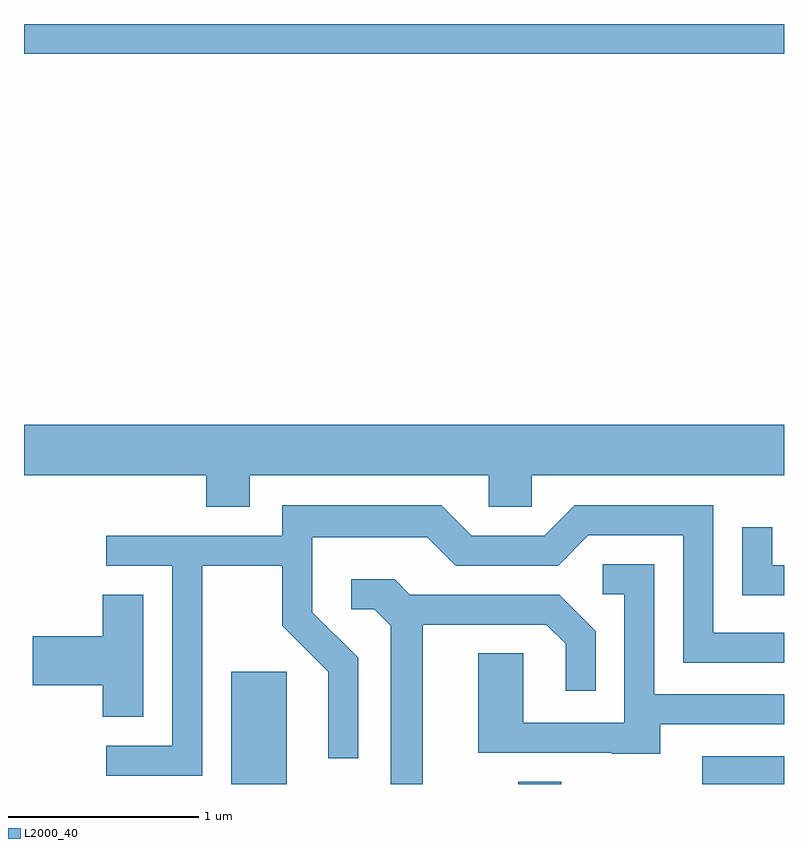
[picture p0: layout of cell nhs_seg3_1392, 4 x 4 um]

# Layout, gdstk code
import gdstk
lib = gdstk.Library(unit=1e-6, precision=1e-09)
def R(c, l, rs):  # rectangles x0, y0, x1, y1
    for r in rs: c.add(gdstk.rectangle(r[:2], r[2:], *l))
def P(c, l, *ps):  # polygons
    for p in ps: c.add(gdstk.Polygon(p, *l))
L2000_40 = (2000, 40)

nhs_seg3_1392 = lib.new_cell('nhs_seg3_1392')
R(nhs_seg3_1392, L2000_40, [(226.701,1179.892,226.994,1180.484), (228.211,1179.892,228.439,1179.904), (229.181,1179.892,229.611,1180.039), (225.611,1183.736,229.611,1183.892)])
P(nhs_seg3_1392, L2000_40, [(225.611,1181.516),(226.571,1181.516),(226.571,1181.351),(226.799,1181.351),(226.799,1181.516),(228.056,1181.516),(228.056,1181.351),(228.284,1181.351),(228.284,1181.516),(229.611,1181.516),(229.611,1181.784),(225.611,1181.784)],
  [(226.549,1181.041),(226.971,1181.041),(226.971,1180.724),(227.211,1180.484),(227.211,1180.028),(227.369,1180.028),(227.369,1180.557),(227.129,1180.797),(227.129,1181.191),(227.734,1181.191),(227.884,1181.041),(228.422,1181.041),(228.582,1181.201),(229.081,1181.201),(229.081,1180.531),(229.611,1180.531),(229.611,1180.689),(229.239,1180.689),(229.239,1181.359),(228.509,1181.359),(228.349,1181.199),(227.967,1181.199),(227.807,1181.359),(226.971,1181.359),(226.971,1181.199),(226.043,1181.199),(226.043,1181.041),(226.391,1181.041),(226.391,1180.094),(226.043,1180.094),(226.043,1179.936),(226.549,1179.936)],
  [(229.611,1181.044),(229.549,1181.044),(229.549,1181.243),(229.391,1181.243),(229.391,1180.886),(229.611,1180.886)],
  [(228.959,1180.206),(229.611,1180.206),(229.611,1180.364),(228.929,1180.364),(228.929,1181.049),(228.658,1181.049),(228.658,1180.891),(228.771,1180.891),(228.771,1180.214),(228.239,1180.214),(228.239,1180.579),(228.001,1180.579),(228.001,1180.056),(228.705,1180.056),(228.705,1180.051),(228.959,1180.051)],
  [(227.709,1180.731),(228.359,1180.731),(228.461,1180.629),(228.461,1180.383),(228.619,1180.383),(228.619,1180.697),(228.427,1180.889),(227.642,1180.889),(227.562,1180.969),(227.333,1180.969),(227.333,1180.811),(227.454,1180.811),(227.541,1180.724),(227.541,1179.892),(227.709,1179.892)],
  [(226.239,1180.889),(226.026,1180.889),(226.026,1180.669),(225.656,1180.669),(225.656,1180.411),(226.026,1180.411),(226.026,1180.246),(226.239,1180.246)])

lib.write_gds('nhs_seg3_1392.gds')
